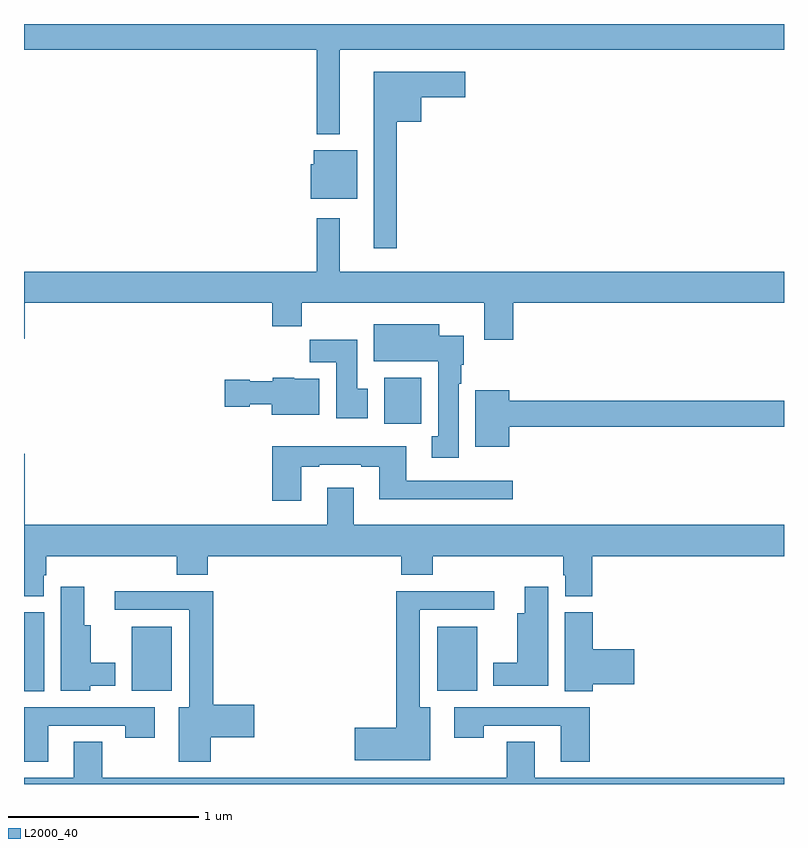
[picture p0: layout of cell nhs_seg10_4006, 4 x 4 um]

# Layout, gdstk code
import gdstk
lib = gdstk.Library(unit=1e-6, precision=1e-09)
def R(c, l, rs):  # rectangles x0, y0, x1, y1
    for r in rs: c.add(gdstk.rectangle(r[:2], r[2:], *l))
def P(c, l, *ps):  # polygons
    for p in ps: c.add(gdstk.Polygon(p, *l))
L2000_40 = (2000, 40)

nhs_seg10_4006 = lib.new_cell('nhs_seg10_4006')
R(nhs_seg10_4006, L2000_40, [(333,1248.988,333.106,1249.404), (333.566,1248.992,333.778,1249.327), (335.174,1248.992,335.386,1249.327), (334.895,1250.396,335.092,1250.638)])
P(nhs_seg10_4006, L2000_40, [(334.663,1252.364),(337,1252.364),(337,1252.5),(333,1252.5),(333,1252.364),(334.542,1252.364),(334.542,1251.92),(334.663,1251.92)],
  [(334.963,1251.986),(335.092,1251.986),(335.092,1252.115),(335.323,1252.115),(335.323,1252.249),(334.841,1252.249),(334.841,1251.321),(334.963,1251.321)],
  [(334.753,1251.835),(334.526,1251.835),(334.526,1251.762),(334.508,1251.762),(334.508,1251.581),(334.753,1251.581)],
  [(335.576,1251.032),(337,1251.032),(337,1251.196),(334.663,1251.196),(334.663,1251.478),(334.542,1251.478),(334.542,1251.196),(333,1251.196),(333,1250.844),(333.004,1250.844),(333.004,1251.032),(334.307,1251.032),(334.307,1250.908),(334.463,1250.908),(334.463,1251.032),(335.423,1251.032),(335.423,1250.838),(335.576,1250.838)],
  [(335.287,1250.606),(335.302,1250.606),(335.302,1250.706),(335.314,1250.706),(335.314,1250.86),(335.185,1250.86),(335.185,1250.92),(334.841,1250.92),(334.841,1250.726),(335.18,1250.726),(335.18,1250.33),(335.147,1250.33),(335.147,1250.217),(335.287,1250.217)],
  [(334.81,1250.58),(334.753,1250.58),(334.753,1250.838),(334.504,1250.838),(334.504,1250.72),(334.643,1250.72),(334.643,1250.424),(334.81,1250.424)],
  [(334.555,1250.632),(334.422,1250.632),(334.422,1250.638),(334.308,1250.638),(334.308,1250.62),(334.188,1250.62),(334.188,1250.628),(334.056,1250.628),(334.056,1250.486),(334.188,1250.486),(334.188,1250.498),(334.304,1250.498),(334.304,1250.444),(334.555,1250.444)],
  [(335.554,1250.38),(337,1250.38),(337,1250.516),(335.554,1250.516),(335.554,1250.572),(335.375,1250.572),(335.375,1250.276),(335.554,1250.276)],
  [(334.459,1250.169),(334.555,1250.169),(334.555,1250.181),(334.775,1250.181),(334.775,1250.169),(334.871,1250.169),(334.871,1250),(335.572,1250),(335.572,1250.097),(335.011,1250.097),(335.011,1250.278),(334.307,1250.278),(334.307,1249.992),(334.459,1249.992)],
  [(333.103,1249.599),(333.116,1249.599),(333.116,1249.7),(333.803,1249.7),(333.803,1249.601),(333.968,1249.601),(333.968,1249.7),(334.985,1249.7),(334.985,1249.601),(335.15,1249.601),(335.15,1249.7),(335.837,1249.7),(335.837,1249.599),(335.849,1249.599),(335.849,1249.489),(335.99,1249.489),(335.99,1249.7),(337,1249.7),(337,1249.864),(334.735,1249.864),(334.735,1250.059),(334.595,1250.059),(334.595,1249.864),(333.004,1249.864),(333.004,1250.239),(333,1250.239),(333,1249.489),(333.103,1249.489)],
  [(335.758,1249.537),(335.636,1249.537),(335.636,1249.399),(335.597,1249.399),(335.597,1249.138),(335.471,1249.138),(335.471,1249.016),(335.758,1249.016)],
  [(333.348,1249.016),(333.481,1249.016),(333.481,1249.138),(333.352,1249.138),(333.352,1249.336),(333.316,1249.336),(333.316,1249.537),(333.194,1249.537),(333.194,1248.992),(333.348,1248.992)],
  [(335.137,1248.904),(335.083,1248.904),(335.083,1249.416),(335.476,1249.416),(335.476,1249.514),(334.958,1249.514),(334.958,1248.797),(334.74,1248.797),(334.74,1248.626),(335.137,1248.626)],
  [(333.982,1248.746),(334.213,1248.746),(334.213,1248.917),(333.995,1248.917),(333.995,1249.514),(333.477,1249.514),(333.477,1249.416),(333.869,1249.416),(333.869,1248.904),(333.815,1248.904),(333.815,1248.618),(333.982,1248.618)],
  [(335.993,1249.025),(336.211,1249.025),(336.211,1249.208),(335.993,1249.208),(335.993,1249.404),(335.846,1249.404),(335.846,1248.988),(335.993,1248.988)],
  [(335.978,1248.903),(335.265,1248.903),(335.265,1248.744),(335.421,1248.744),(335.421,1248.807),(335.825,1248.807),(335.825,1248.618),(335.978,1248.618)],
  [(333.127,1248.807),(333.532,1248.807),(333.532,1248.744),(333.688,1248.744),(333.688,1248.903),(333,1248.903),(333,1248.618),(333.127,1248.618)],
  [(337,1248.532),(335.689,1248.532),(335.689,1248.722),(335.542,1248.722),(335.542,1248.532),(333.411,1248.532),(333.411,1248.722),(333.263,1248.722),(333.263,1248.532),(333,1248.532),(333,1248.5),(337,1248.5)])

lib.write_gds('nhs_seg10_4006.gds')
